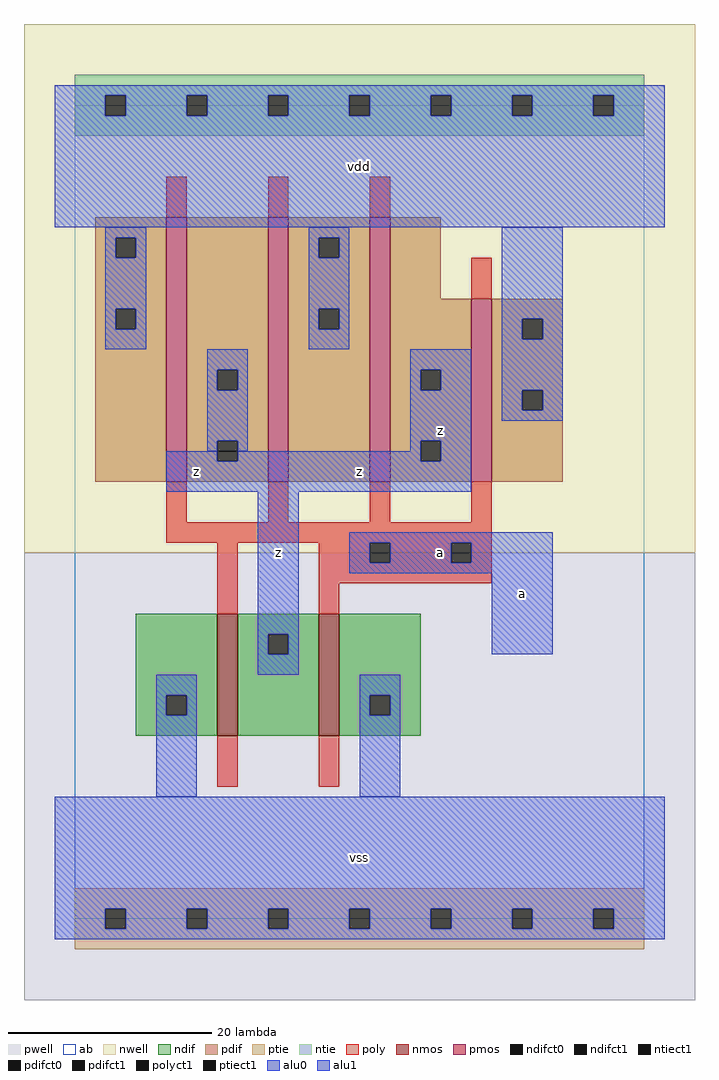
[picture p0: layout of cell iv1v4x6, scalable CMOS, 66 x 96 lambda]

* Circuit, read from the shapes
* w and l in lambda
.subckt iv1v4x6 a vdd vss z
M1 z a vss vss nfet w=12 l=2 m=2
M2 z a vdd vdd pfet w=26 l=2 m=3
M3 vdd a z vdd pfet w=18 l=2
.ends

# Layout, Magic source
magic
tech scmos
<< ab >>
rect 0 0 56 80
<< nwell >>
rect -5 36 61 88
<< pwell >>
rect -5 -8 61 36
<< poly >>
rect 9 69 11 73
rect 19 69 21 73
rect 29 69 31 73
rect 39 61 41 65
rect 9 39 11 43
rect 19 39 21 43
rect 29 39 31 43
rect 39 39 41 43
rect 9 37 41 39
rect 14 30 16 37
rect 24 35 29 37
rect 31 35 37 37
rect 39 35 41 37
rect 24 33 41 35
rect 24 30 26 33
rect 14 13 16 18
rect 24 13 26 18
<< ndif >>
rect 6 22 14 30
rect 6 20 9 22
rect 11 20 14 22
rect 6 18 14 20
rect 16 28 24 30
rect 16 26 19 28
rect 21 26 24 28
rect 16 18 24 26
rect 26 22 34 30
rect 26 20 29 22
rect 31 20 34 22
rect 26 18 34 20
<< pdif >>
rect 2 67 9 69
rect 2 65 4 67
rect 6 65 9 67
rect 2 60 9 65
rect 2 58 4 60
rect 6 58 9 60
rect 2 43 9 58
rect 11 54 19 69
rect 11 52 14 54
rect 16 52 19 54
rect 11 47 19 52
rect 11 45 14 47
rect 16 45 19 47
rect 11 43 19 45
rect 21 67 29 69
rect 21 65 24 67
rect 26 65 29 67
rect 21 60 29 65
rect 21 58 24 60
rect 26 58 29 60
rect 21 43 29 58
rect 31 61 36 69
rect 31 54 39 61
rect 31 52 34 54
rect 36 52 39 54
rect 31 47 39 52
rect 31 45 34 47
rect 36 45 39 47
rect 31 43 39 45
rect 41 59 48 61
rect 41 57 44 59
rect 46 57 48 59
rect 41 52 48 57
rect 41 50 44 52
rect 46 50 48 52
rect 41 43 48 50
<< alu1 >>
rect -2 81 58 82
rect -2 79 3 81
rect 5 79 11 81
rect 13 79 19 81
rect 21 79 27 81
rect 29 79 35 81
rect 37 79 43 81
rect 45 79 51 81
rect 53 79 58 81
rect -2 68 58 79
rect 33 54 39 56
rect 33 52 34 54
rect 36 52 39 54
rect 33 47 39 52
rect 33 46 34 47
rect 9 45 14 46
rect 16 45 34 46
rect 36 45 39 47
rect 9 42 39 45
rect 18 28 22 42
rect 27 37 47 38
rect 27 35 29 37
rect 31 35 37 37
rect 39 35 47 37
rect 27 34 47 35
rect 18 26 19 28
rect 21 26 22 28
rect 41 26 47 34
rect 18 24 22 26
rect -2 1 58 12
rect -2 -1 3 1
rect 5 -1 11 1
rect 13 -1 19 1
rect 21 -1 27 1
rect 29 -1 35 1
rect 37 -1 43 1
rect 45 -1 51 1
rect 53 -1 58 1
rect -2 -2 58 -1
<< ptie >>
rect 0 1 56 3
rect 0 -1 3 1
rect 5 -1 11 1
rect 13 -1 19 1
rect 21 -1 27 1
rect 29 -1 35 1
rect 37 -1 43 1
rect 45 -1 51 1
rect 53 -1 56 1
rect 0 -3 56 -1
<< ntie >>
rect 0 81 56 83
rect 0 79 3 81
rect 5 79 11 81
rect 13 79 19 81
rect 21 79 27 81
rect 29 79 35 81
rect 37 79 43 81
rect 45 79 51 81
rect 53 79 56 81
rect 0 77 56 79
<< nmos >>
rect 14 18 16 30
rect 24 18 26 30
<< pmos >>
rect 9 43 11 69
rect 19 43 21 69
rect 29 43 31 69
rect 39 43 41 61
<< polyct1 >>
rect 29 35 31 37
rect 37 35 39 37
<< ndifct0 >>
rect 9 20 11 22
rect 29 20 31 22
<< ndifct1 >>
rect 19 26 21 28
<< ntiect1 >>
rect 3 79 5 81
rect 11 79 13 81
rect 19 79 21 81
rect 27 79 29 81
rect 35 79 37 81
rect 43 79 45 81
rect 51 79 53 81
<< ptiect1 >>
rect 3 -1 5 1
rect 11 -1 13 1
rect 19 -1 21 1
rect 27 -1 29 1
rect 35 -1 37 1
rect 43 -1 45 1
rect 51 -1 53 1
<< pdifct0 >>
rect 4 65 6 67
rect 4 58 6 60
rect 14 52 16 54
rect 14 46 16 47
rect 24 65 26 67
rect 24 58 26 60
rect 44 57 46 59
rect 44 50 46 52
<< pdifct1 >>
rect 14 45 16 46
rect 34 52 36 54
rect 34 45 36 47
<< alu0 >>
rect 3 67 7 68
rect 3 65 4 67
rect 6 65 7 67
rect 3 60 7 65
rect 3 58 4 60
rect 6 58 7 60
rect 3 56 7 58
rect 23 67 27 68
rect 23 65 24 67
rect 26 65 27 67
rect 23 60 27 65
rect 23 58 24 60
rect 26 58 27 60
rect 23 56 27 58
rect 42 59 48 68
rect 42 57 44 59
rect 46 57 48 59
rect 13 54 17 56
rect 13 52 14 54
rect 16 52 17 54
rect 13 47 17 52
rect 13 46 14 47
rect 16 46 17 47
rect 42 52 48 57
rect 42 50 44 52
rect 46 50 48 52
rect 42 49 48 50
rect 8 22 12 24
rect 8 20 9 22
rect 11 20 12 22
rect 8 12 12 20
rect 28 22 32 24
rect 28 20 29 22
rect 31 20 32 22
rect 28 12 32 20
<< labels >>
rlabel alu1 20 36 20 36 6 z
rlabel alu1 12 44 12 44 6 z
rlabel alu1 28 6 28 6 6 vss
rlabel alu1 36 36 36 36 6 a
rlabel alu1 28 44 28 44 6 z
rlabel alu1 36 48 36 48 6 z
rlabel alu1 28 74 28 74 6 vdd
rlabel alu1 44 32 44 32 6 a
<< end >>
